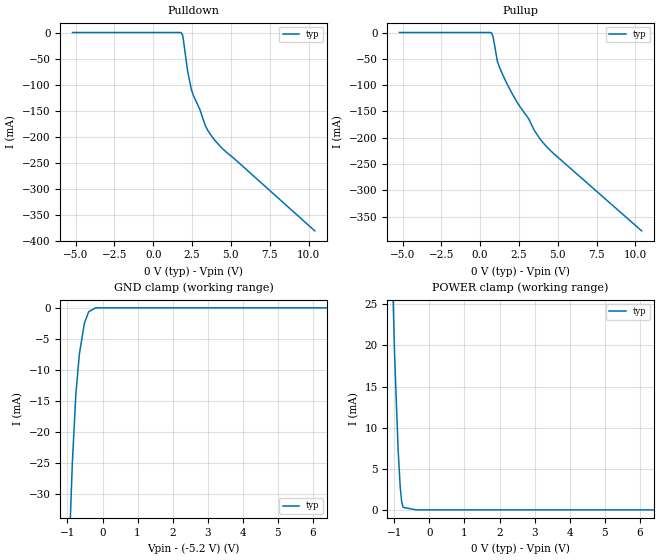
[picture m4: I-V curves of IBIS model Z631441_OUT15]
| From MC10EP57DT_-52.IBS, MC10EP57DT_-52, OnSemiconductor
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| (C) COPYRIGHT 1993-2000
| MENTOR GRAPHICS CORPORATION
| ICX STANDARD LIBRARY, ICX PROJECT MODELING,
| ICX CUSTOM MODELING, ICX VENDOR MODEL
| ALL RIGHTS RESERVED.
| THE FOLLOWING ARE TRADEMARKS OR SERVICE MARKS OF
| MENTOR GRAPHICS CORPORATION:ICX (R), ICX STANDARD
| LIBRARY(R), ICX PROJECT MODELING(R), ICX CUSTOM
| MODELING(R), qualityIBIS(TM), MODELVIEWER(TM),
| AND MODELEDITOR(TM)
| ALL COPIES OF SOFTWARE, INCLUDING BUT NOT LIMITED TO
| ANY MODIFICATIONS, ENHANCEMENTS OR DERIVATIVE WORKS,
| MUST CONTAIN ALL MENTOR GRAPHICS CORPORATION'S
| NOTICES AND LEGENDS, INCLUDING THOSE EMBEDDED IN
| SOFTWARE AND THOSE AFFIXED TO SOFTWARE MEDIUM
| AND CONTAINER, AS RECEIVED FROM MENTOR GRAPHICS
| CORPORATION.
| Model Application Version 1.89 2/18/99.
[Model] Z631441_OUT15
Model_type Output_ECL
Vref=-2.000V
Rref=50.00ohms
Cref=0.000F
Vmeas=-1.345V
C_comp 1.000pF NA NA
| variable typ   min   max
[Voltage Range] -5.200V NA NA
[POWER Clamp Reference] 0.000V NA NA
[Pullup Reference] 0.000V NA NA
[Pulldown Reference] 0.000V NA NA
[GND Clamp Reference] -5.200V NA NA
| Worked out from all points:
|   GND clamp passes 1 mA (typ) near -0.42 V on its own axis
|   POWER clamp passes 1 mA (typ) near -0.79 V on its own axis
[GND Clamp]
-5.2V     -703.4mA   NA         NA
-861mV    -25.03mA   NA         NA
-760mV    -13.83mA   NA         NA
-658mV    -7.362mA   NA         NA
-516mV    -2.462mA   NA         NA
-394mV    -626.8uA   NA         NA
-197mV    0A         NA         NA
10.4V     0A         NA         NA
[Pulldown]
-5.2V     0A         NA         NA
1.804V    -400uA     NA         NA
1.885V    -4.9mA     NA         NA
1.926V    -11.5mA    NA         NA
2.209V    -73.8mA    NA         NA
2.452V    -109.6mA   NA         NA
2.574V    -120.4mA   NA         NA
3V        -148.1mA   NA         NA
3.365V    -180.1mA   NA         NA
3.75V     -198.9mA   NA         NA
4.702V    -230mA     NA         NA
10.4V     -381.3mA   NA         NA
[Pullup]
-5.2V     0A         NA         NA
730mV     -500uA     NA         NA
831mV     -8.1mA     NA         NA
1.115V    -55.8mA    NA         NA
1.48V     -82.1mA    NA         NA
2.047V    -115.7mA   NA         NA
2.331V    -130.3mA   NA         NA
3.122V    -163.9mA   NA         NA
3.466V    -185.2mA   NA         NA
3.831V    -201.4mA   NA         NA
4.702V    -229.5mA   NA         NA
10.4V     -377.3mA   NA         NA
[POWER Clamp]
-5.2V     704.9mA    NA         NA
-993mV    18.9mA     NA         NA
-892mV    7.3mA      NA         NA
-831mV    2.7mA      NA         NA
-791mV    1mA        NA         NA
-750mV    300uA      NA         NA
-375mV    0A         NA         NA
10.4V     0A         NA         NA
[Ramp]
| variable typ min max
dV/dt_r 563.0m/113.6p NA NA
dV/dt_f 563.0m/130.4p NA NA
R_load = 50.00Ohms
